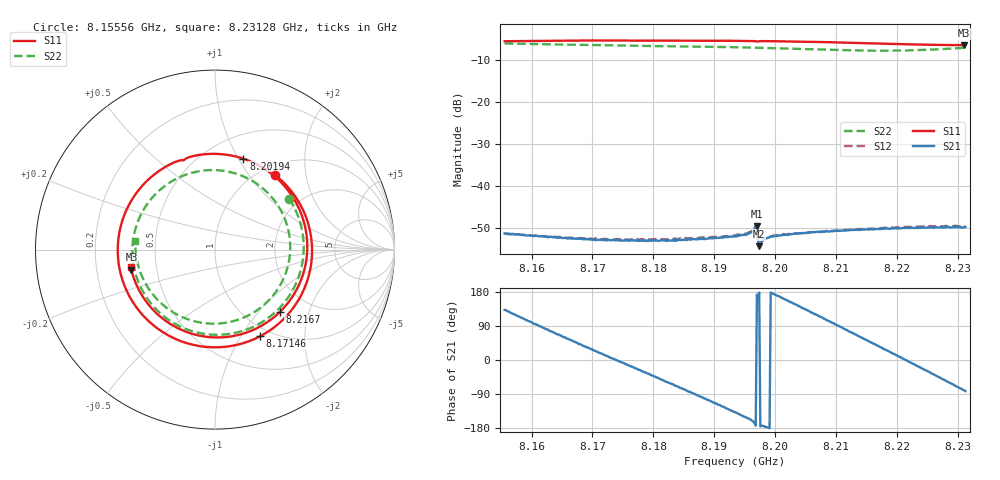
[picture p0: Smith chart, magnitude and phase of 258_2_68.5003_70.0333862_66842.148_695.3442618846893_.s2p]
#  HZ  S  RI  R  50.00
! Rohde & Schwarz Vector Network Analyzer
! Rohde-Schwarz,ZNB20-2Port,1311601062101988,3.16
! Created: UTC 3/20/2024, 5:00:08 PM
! freq[Hz]  re:S11  im:S11  re:S21  im:S21  re:S12  im:S12  re:S22  im:S22
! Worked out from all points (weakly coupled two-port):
!   401 points, 8.15556 GHz to 8.23128 GHz, reference 50 ohm
!   highest |S21| = -49.52 dB at 8.19701 GHz (marker M1); lowest = -54.3 dB at 8.19739 GHz (marker M2)
!   lowest |S11| = -6.4 dB at 8.23109 GHz (marker M3), VSWR 2.84, Z = 17.8 - j5.21 ohm
!   |S11| at or under -10 dB: nowhere
!   |S22| runs from -7.7 to -6.0 dB; largest |S21 - S12| = 0.00025
!   S11 on the Smith chart (normalised r, x): 8.15556 GHz: 1.17, +1.35; 8.17146 GHz: 0.89, -1.22; 8.20194 GHz: 0.74, +1.05; 8.2167 GHz: 1.41, -1.31; 8.23128 GHz: 0.36, -0.09
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8.155559e9  0.3359 0.4141  -0.00184 0.00203  -0.00183 0.00204  0.4135 0.2834
8.161995e9  0.5383 0.0456  0.000243 0.00252  0.000196 0.00252  0.4829 -0.0934
8.168242e9  0.419 -0.3466  0.00182 0.0015  0.00185 0.00153  0.2801 -0.3925
8.17146e9  0.2507 -0.4831  0.00219 0.000685  0.00223 0.000698  0.1092 -0.4647
8.176192e9  -0.0626 -0.5409  0.00216 -0.000607  0.00222 -0.000621  -0.1569 -0.4442
8.180925e9  -0.3563 -0.4106  0.00147 -0.00167  0.0015 -0.00179  -0.3676 -0.2862
8.187171e9  -0.5412 -0.0302  -0.000117 -0.00233  -0.000156 -0.00239  -0.4576 0.0415
8.1902e9  -0.5106 0.1783  -0.001 -0.00219  -0.00108 -0.00223  -0.409 0.2019
8.193418e9  -0.3927 0.3691  -0.00188 -0.00173  -0.00199 -0.00166  -0.2973 0.3406
8.196636e9  -0.2034 0.4946  -0.00304 -0.000735  -0.00317 -0.000615  -0.1391 0.425
8.197015e9  -0.1773 0.4976  -0.00331 0.000422  -0.0033 0.000604  -0.1185 0.4304
8.197393e9  -0.1604 0.5084  -0.00193 6.58e-05  -0.00199 0.000154  -0.0978 0.4352
8.201937e9  0.1582 0.5066  -0.00244 0.00101  -0.00244 0.00111  0.1557 0.4089
8.206101e9  0.3979 0.3412  -0.0016 0.00234  -0.00156 0.00238  0.3418 0.259
8.211401e9  0.5136 -0.0099  0.000434 0.00293  0.000499 0.00296  0.4155 -0.0432
8.216702e9  0.3596 -0.3493  0.00241 0.00193  0.00248 0.00189  0.2531 -0.3243
8.218784e9  0.2371 -0.4362  0.00288 0.00116  0.003 0.00108  0.1349 -0.3885
8.221623e9  0.0397 -0.4888  0.00318 -3.94e-05  0.00327 -0.000188  -0.0506 -0.4107
8.224463e9  -0.162 -0.4574  0.0029 -0.00137  0.00296 -0.00154  -0.2316 -0.3504
8.22787e9  -0.3617 -0.3171  0.00194 -0.00257  0.00186 -0.00275  -0.3914 -0.1811
8.231088e9  -0.4658 -0.1125  0.000546 -0.00321  0.00038 -0.00331  -0.4435 0.0358
8.231278e9  -0.4689 -0.0992  0.000455 -0.00323  0.000261 -0.00334  -0.4431 0.0491
